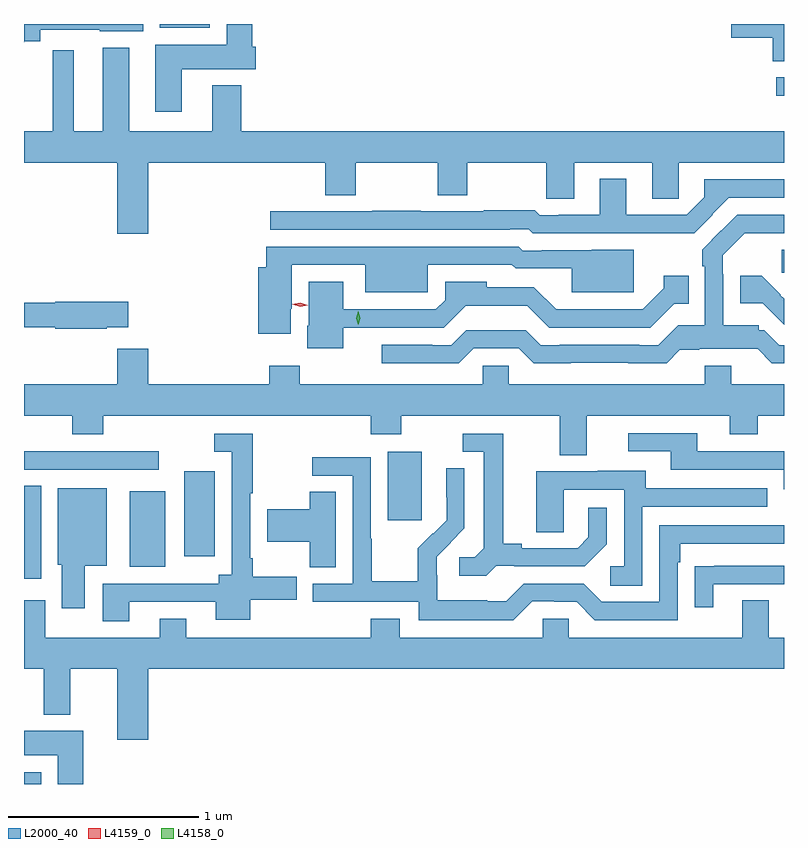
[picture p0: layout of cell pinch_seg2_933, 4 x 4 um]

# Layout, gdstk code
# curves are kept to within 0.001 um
import gdstk
lib = gdstk.Library(unit=1e-6, precision=1e-09)
def R(c, l, rs):  # rectangles x0, y0, x1, y1
    for r in rs: c.add(gdstk.rectangle(r[:2], r[2:], *l))
def P(c, l, *ps):  # polygons
    for p in ps: c.add(gdstk.Polygon(p, *l))
L2000_40 = (2000, 40)
L4158_0 = (4158, 0)
L4159_0 = (4159, 0)

pinch_seg2_933 = lib.new_cell('pinch_seg2_933')
R(pinch_seg2_933, L2000_40, [(368.314,657.685,368.404,657.748), (368.314,658.764,368.404,659.255), (368.87,658.829,369.058,659.227), (369.158,658.884,369.319,659.332), (370.229,659.073,370.408,659.434), (368.314,659.34,369.022,659.436), (372.303,660.376,372.314,660.496), (372.273,661.308,372.314,661.404), (369.029,661.664,369.292,661.685)])
P(pinch_seg2_933, L2000_40, [(372.314,661.685),(372.036,661.685),(372.036,661.613),(372.254,661.613),(372.254,661.489),(372.314,661.489)],
  [(369.145,661.448),(369.533,661.448),(369.533,661.566),(369.515,661.566),(369.515,661.685),(369.38,661.685),(369.38,661.576),(369.005,661.576),(369.005,661.224),(369.145,661.224)],
  [(368.318,661.594),(368.4,661.594),(368.4,661.656),(368.712,661.656),(368.712,661.646),(368.941,661.646),(368.941,661.685),(368.314,661.685),(368.314,661.59)],
  [(368.968,660.956),(369.899,660.956),(369.899,660.784),(370.059,660.784),(370.059,660.956),(370.492,660.956),(370.492,660.784),(370.647,660.784),(370.647,660.956),(371.062,660.956),(371.062,660.766),(371.209,660.766),(371.209,660.956),(371.621,660.956),(371.621,660.766),(371.76,660.766),(371.76,660.956),(372.314,660.956),(372.314,661.12),(369.458,661.12),(369.458,661.363),(369.305,661.363),(369.305,661.12),(368.869,661.12),(368.869,661.561),(368.729,661.561),(368.729,661.12),(368.575,661.12),(368.575,661.546),(368.465,661.546),(368.465,661.12),(368.314,661.12),(368.314,660.956),(368.804,660.956),(368.804,660.582),(368.968,660.582)],
  [(371.939,660.68),(371.936,660.683),(372.024,660.771),(372.314,660.771),(372.314,660.867),(371.893,660.867),(371.893,660.772),(371.802,660.681),(371.485,660.681),(371.485,660.871),(371.345,660.871),(371.345,660.681),(371.128,660.681),(371.128,660.678),(371.028,660.678),(371.002,660.704),(370.735,660.704),(370.735,660.699),(370.403,660.699),(370.403,660.702),(370.147,660.702),(370.147,660.699),(369.609,660.699),(369.609,660.603),(370.871,660.603),(370.871,660.606),(370.971,660.606),(370.992,660.585),(371.581,660.585),(371.581,660.583),(371.841,660.583)],
  [(370.68,659.979),(370.917,659.979),(370.996,659.9),(371.696,659.9),(371.766,659.971),(371.869,659.971),(371.869,659.975),(372.175,659.975),(372.25,659.9),(372.314,659.9),(372.314,659.994),(372.288,659.994),(372.21,660.072),(372.18,660.072),(372.18,660.099),(371.994,660.099),(371.994,660.368),(371.991,660.368),(371.991,660.467),(372.107,660.583),(372.211,660.583),(372.211,660.585),(372.314,660.585),(372.314,660.681),(372.068,660.681),(371.883,660.498),(371.883,660.41),(371.898,660.41),(371.898,660.099),(371.757,660.099),(371.652,659.994),(371.552,659.994),(371.552,659.997),(371.134,659.997),(371.134,659.994),(371.034,659.994),(370.956,660.072),(370.641,660.072),(370.563,659.994),(370.463,659.994),(370.463,659.997),(370.197,659.997),(370.197,659.9),(370.601,659.9)],
  [(369.718,660.186),(369.724,660.186),(369.724,660.417),(370.109,660.417),(370.109,660.272),(370.44,660.272),(370.44,660.417),(370.781,660.417),(370.781,660.419),(370.882,660.419),(370.902,660.399),(371.198,660.399),(371.198,660.272),(371.524,660.272),(371.524,660.496),(371.038,660.495),(371.038,660.492),(370.938,660.492),(370.917,660.513),(369.59,660.513),(369.59,660.406),(369.548,660.406),(369.548,660.054),(369.718,660.054)],
  [(369.994,660.087),(370.522,660.087),(370.638,660.203),(370.963,660.203),(371.079,660.087),(371.611,660.087),(371.737,660.213),(371.813,660.213),(371.813,660.361),(371.681,660.361),(371.681,660.293),(371.571,660.183),(371.115,660.183),(370.998,660.3),(370.749,660.3),(370.749,660.328),(370.53,660.328),(370.53,660.231),(370.482,660.183),(369.994,660.183),(369.994,660.328),(369.812,660.328),(369.812,660.096),(369.806,660.096),(369.806,659.978),(369.994,659.978)],
  [(372.314,660.238),(372.295,660.257),(372.298,660.26),(372.197,660.361),(372.083,660.361),(372.083,660.215),(372.201,660.215),(372.314,660.102)],
  [(368.75,660.089),(368.863,660.089),(368.863,660.224),(368.478,660.224),(368.478,660.218),(368.314,660.218),(368.314,660.09),(368.478,660.09),(368.478,660.082),(368.75,660.082)],
  [(371.275,659.624),(372.029,659.624),(372.029,659.525),(372.177,659.525),(372.177,659.624),(372.314,659.624),(372.314,659.788),(372.037,659.788),(372.037,659.887),(371.897,659.887),(371.897,659.788),(370.866,659.788),(370.866,659.886),(370.728,659.886),(370.728,659.788),(369.765,659.788),(369.765,659.887),(369.605,659.887),(369.605,659.788),(368.968,659.788),(368.968,659.977),(368.804,659.977),(368.804,659.788),(368.314,659.788),(368.314,659.624),(368.567,659.624),(368.567,659.525),(368.732,659.525),(368.732,659.624),(370.139,659.624),(370.139,659.525),(370.299,659.525),(370.299,659.624),(371.135,659.624),(371.135,659.416),(371.275,659.416)],
  [(372.314,659.436),(371.857,659.436),(371.857,659.532),(371.493,659.532),(371.493,659.436),(371.717,659.436),(371.717,659.34),(372.312,659.34),(372.312,659.237),(372.314,659.237)],
  [(370.8,658.833),(370.894,658.833),(370.894,658.83),(371.266,658.83),(371.382,658.946),(371.382,659.14),(371.285,659.14),(371.285,658.983),(371.228,658.926),(370.933,658.926),(370.933,658.949),(370.837,658.949),(370.837,659.529),(370.623,659.529),(370.623,659.433),(370.733,659.433),(370.733,658.925),(370.686,658.878),(370.605,658.878),(370.605,658.781),(370.748,658.781)],
  [(368.869,658.644),(369.323,658.644),(369.323,658.55),(369.505,658.55),(369.505,658.655),(369.75,658.655),(369.75,658.777),(369.517,658.777),(369.517,658.873),(369.504,658.873),(369.504,659.215),(369.517,659.215),(369.517,659.529),(369.315,659.529),(369.315,659.433),(369.408,659.433),(369.408,658.786),(369.338,658.786),(369.338,658.74),(368.729,658.74),(368.729,658.542),(368.869,658.542)],
  [(370.989,658.647),(371.105,658.647),(371.105,658.644),(371.223,658.644),(371.319,658.548),(371.754,658.548),(371.754,658.853),(371.767,658.853),(371.767,658.95),(372.314,658.95),(372.314,659.046),(371.658,659.046),(371.658,658.644),(371.355,658.644),(371.259,658.74),(370.944,658.74),(370.851,658.647),(370.751,658.647),(370.751,658.651),(370.488,658.651),(370.488,658.785),(370.486,658.785),(370.486,658.882),(370.632,659.03),(370.632,659.348),(370.536,659.348),(370.536,659.194),(370.538,659.194),(370.538,659.072),(370.467,659.001),(370.464,659.004),(370.387,658.927),(370.387,658.753),(370.143,658.753),(370.143,658.976),(370.14,658.976),(370.14,659.406),(369.831,659.406),(369.831,659.307),(370.044,659.307),(370.044,658.74),(369.835,658.74),(369.835,658.644),(370.392,658.644),(370.392,658.547),(370.889,658.547)],
  [(371.568,659.145),(372.227,659.145),(372.227,659.241),(371.587,659.241),(371.587,659.335),(371.333,659.335),(371.333,659.331),(371.009,659.331),(371.009,659.011),(371.154,659.011),(371.154,659.235),(371.472,659.235),(371.472,658.83),(371.4,658.83),(371.4,658.729),(371.568,658.729)],
  [(368.635,658.835),(368.749,658.835),(368.749,659.242),(368.492,659.242),(368.492,658.839),(368.513,658.839),(368.513,658.611),(368.635,658.611)],
  [(369.955,659.222),(369.817,659.222),(369.817,659.132),(369.594,659.132),(369.594,658.961),(369.817,658.961),(369.817,658.825),(369.955,658.825)],
  [(371.941,658.737),(372.314,658.737),(372.314,658.833),(371.947,658.833),(371.947,658.832),(371.845,658.832),(371.845,658.614),(371.941,658.614)],
  [(368.968,658.292),(372.314,658.292),(372.314,658.456),(372.235,658.456),(372.235,658.651),(372.095,658.651),(372.095,658.456),(371.181,658.456),(371.181,658.554),(371.043,658.554),(371.043,658.456),(370.291,658.456),(370.291,658.555),(370.139,658.555),(370.139,658.456),(369.169,658.456),(369.169,658.555),(369.029,658.555),(369.029,658.456),(368.425,658.456),(368.425,658.651),(368.314,658.651),(368.314,658.292),(368.417,658.292),(368.417,658.049),(368.557,658.049),(368.557,658.292),(368.804,658.292),(368.804,657.918),(368.968,657.918)],
  [(368.627,657.964),(368.314,657.964),(368.314,657.836),(368.492,657.836),(368.492,657.685),(368.627,657.685)])
P(pinch_seg2_933, L4158_0, [(370.073,660.101),(370.072,660.102),(370.063,660.137),(370.072,660.172),(370.073,660.172),(370.073,660.172),(370.083,660.137),(370.073,660.102)])
P(pinch_seg2_933, L4159_0, [(369.767,660.198),(369.727,660.21),(369.727,660.21),(369.727,660.21),(369.768,660.218),(369.807,660.206),(369.808,660.206),(369.807,660.206)])

lib.write_gds('pinch_seg2_933.gds')
